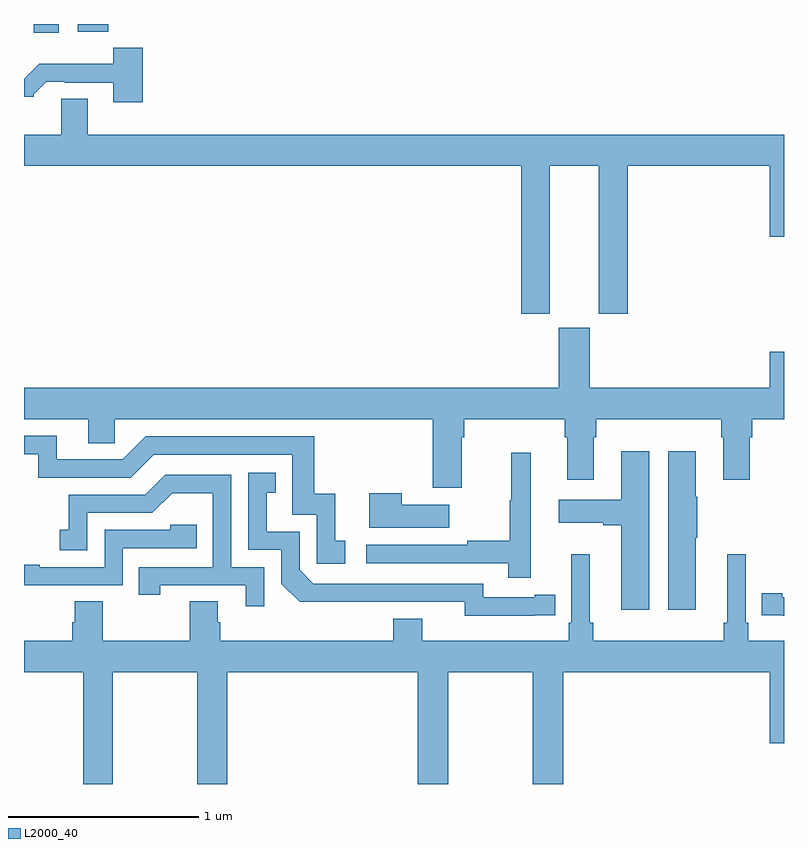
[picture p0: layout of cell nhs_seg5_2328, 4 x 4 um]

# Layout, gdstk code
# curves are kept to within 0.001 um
import gdstk
lib = gdstk.Library(unit=1e-6, precision=1e-09)
def R(c, l, rs):  # rectangles x0, y0, x1, y1
    for r in rs: c.add(gdstk.rectangle(r[:2], r[2:], *l))
def P(c, l, *ps):  # polygons
    for p in ps: c.add(gdstk.Polygon(p, *l))
L2000_40 = (2000, 40)

nhs_seg5_2328 = lib.new_cell('nhs_seg5_2328')
R(nhs_seg5_2328, L2000_40, [(245.051,898.752,245.182,898.799), (245.282,898.757,245.444,898.799)])
P(nhs_seg5_2328, L2000_40, [(245.624,898.675),(245.469,898.675),(245.469,898.591),(245.08,898.591),(245,898.512),(245,898.415),(245.052,898.415),(245.052,898.43),(245.116,898.494),(245.215,898.494),(245.215,898.491),(245.471,898.491),(245.471,898.386),(245.624,898.386)],
  [(245.335,898.406),(245.195,898.406),(245.195,898.216),(245,898.216),(245,898.052),(247.616,898.052),(247.616,897.273),(247.768,897.273),(247.768,898.052),(248.024,898.052),(248.024,897.273),(248.177,897.273),(248.177,898.052),(248.924,898.052),(248.924,897.678),(249,897.678),(249,898.216),(245.335,898.216)],
  [(247.303,896.624),(247.316,896.624),(247.316,896.72),(247.847,896.72),(247.847,896.624),(247.859,896.624),(247.859,896.4),(247.999,896.4),(247.999,896.624),(248.012,896.624),(248.012,896.72),(248.669,896.72),(248.669,896.624),(248.681,896.624),(248.681,896.4),(248.821,896.4),(248.821,896.624),(248.834,896.624),(248.834,896.72),(249,896.72),(249,897.073),(248.924,897.073),(248.924,896.884),(247.978,896.884),(247.978,897.201),(247.814,897.201),(247.814,896.884),(245,896.884),(245,896.72),(245.339,896.72),(245.339,896.593),(245.478,896.593),(245.478,896.72),(247.151,896.72),(247.151,896.358),(247.303,896.358)],
  [(246.691,896.079),(246.638,896.079),(246.638,896.326),(246.527,896.326),(246.527,896.628),(245.64,896.628),(245.52,896.508),(245.173,896.508),(245.173,896.631),(245,896.631),(245,896.535),(245.076,896.535),(245.076,896.412),(245.562,896.412),(245.682,896.532),(246.411,896.532),(246.411,896.217),(246.54,896.217),(246.54,895.959),(246.691,895.959)],
  [(248.29,896.551),(248.144,896.551),(248.144,896.296),(247.815,896.296),(247.815,896.174),(248.048,896.174),(248.048,896.162),(248.144,896.162),(248.144,895.716),(248.29,895.716)],
  [(248.536,896.095),(248.544,896.095),(248.544,896.312),(248.536,896.312),(248.536,896.551),(248.39,896.551),(248.39,895.716),(248.536,895.716)],
  [(247.666,896.542),(247.564,896.542),(247.564,896.292),(247.557,896.292),(247.557,896.078),(247.333,896.078),(247.333,896.058),(246.801,896.058),(246.801,895.962),(247.549,895.962),(247.549,895.884),(247.666,895.884)],
  [(247.688,895.686),(247.796,895.686),(247.796,895.795),(247.688,895.795),(247.688,895.782),(247.416,895.782),(247.416,895.854),(246.522,895.854),(246.45,895.926),(246.45,896.127),(246.277,896.127),(246.277,896.331),(246.326,896.331),(246.326,896.437),(246.18,896.437),(246.18,896.031),(246.354,896.031),(246.354,895.854),(246.452,895.757),(247.32,895.758),(247.32,895.685)],
  [(246.264,895.941),(246.09,895.941),(246.09,896.427),(245.744,896.427),(245.639,896.322),(245.236,896.322),(245.236,896.137),(245.187,896.137),(245.187,896.028),(245.334,896.028),(245.334,896.226),(245.676,896.226),(245.78,896.33),(245.994,896.33),(245.994,895.941),(245.605,895.941),(245.605,895.794),(245.716,895.794),(245.716,895.845),(246.167,895.845),(246.167,895.734),(246.264,895.734)],
  [(247.237,896.269),(246.989,896.269),(246.989,896.329),(246.818,896.329),(246.818,896.147),(247.237,896.147)],
  [(245.52,896.04),(245.909,896.04),(245.909,896.163),(245.769,896.163),(245.769,896.136),(245.424,896.136),(245.424,895.941),(245.083,895.941),(245.083,895.954),(245,895.954),(245,895.845),(245.52,895.845)],
  [(245.911,894.799),(246.071,894.799),(246.071,895.388),(247.073,895.388),(247.073,894.799),(247.233,894.799),(247.233,895.388),(247.678,895.388),(247.678,894.799),(247.838,894.799),(247.838,895.388),(248.924,895.388),(248.924,895.014),(249,895.014),(249,895.552),(248.813,895.552),(248.813,895.648),(248.799,895.648),(248.799,896.008),(248.702,896.008),(248.702,895.648),(248.683,895.648),(248.683,895.552),(247.997,895.552),(247.997,895.648),(247.978,895.648),(247.978,896.008),(247.881,896.008),(247.881,895.648),(247.868,895.648),(247.868,895.552),(247.096,895.552),(247.096,895.669),(246.944,895.669),(246.944,895.552),(246.032,895.552),(246.032,895.65),(246.019,895.65),(246.019,895.76),(245.872,895.76),(245.872,895.552),(245.415,895.552),(245.415,895.76),(245.267,895.76),(245.267,895.65),(245.255,895.65),(245.255,895.552),(245,895.552),(245,895.388),(245.311,895.388),(245.311,894.799),(245.466,894.799),(245.466,895.388),(245.911,895.388)],
  [(249,895.782),(248.992,895.782),(248.992,895.802),(248.884,895.802),(248.884,895.686),(248.992,895.686),(248.992,895.685),(249,895.685)])

lib.write_gds('nhs_seg5_2328.gds')
